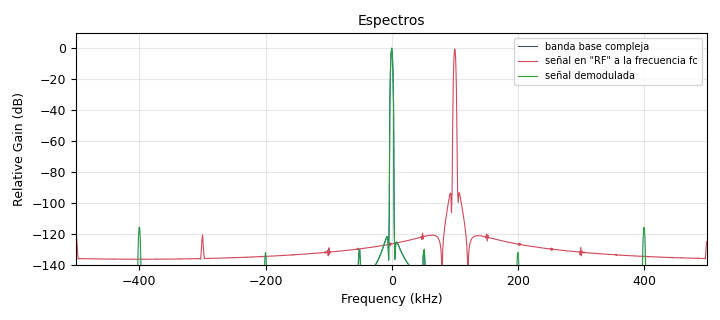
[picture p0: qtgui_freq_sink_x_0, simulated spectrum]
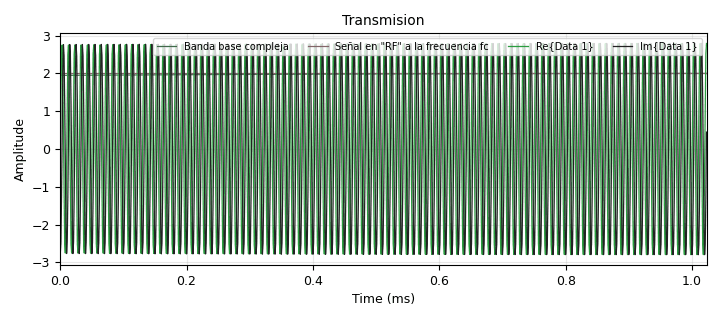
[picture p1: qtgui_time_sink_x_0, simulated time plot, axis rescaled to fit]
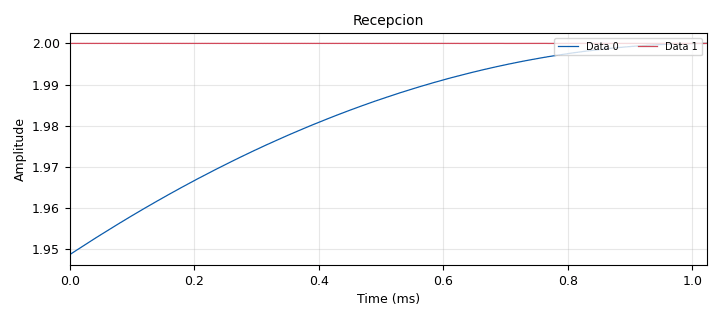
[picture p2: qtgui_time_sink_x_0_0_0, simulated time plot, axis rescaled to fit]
options:
  parameters:
    generate_options: qt_gui
    id: top_block
    output_language: python
  states: {}

blocks:
- name: c
  id: variable_qtgui_range
  parameters:
    label: c
    outputmsgname: value
    showports: 'False'
    start: '0'
    step: '0.1'
    stop: '1'
    value: '1'
  states: {}
- name: f
  id: variable_qtgui_range
  parameters:
    label: f
    outputmsgname: value
    showports: 'False'
    start: '0'
    step: '1'
    stop: 15e3
    value: '50'
  states: {}
- name: fc
  id: variable_qtgui_range
  parameters:
    label: fc
    outputmsgname: value
    showports: 'False'
    start: 100e3
    step: 1e3
    stop: 500e3
    value: 100e3
  states: {}
- name: m
  id: variable_qtgui_range
  parameters:
    label: m
    outputmsgname: value
    showports: 'False'
    start: '0'
    step: '0.1'
    stop: '1'
    value: '1'
  states: {}
- name: samp_rate
  id: variable
  parameters:
    value: 1e6
  states: {}
- name: analog_const_source_x_0
  id: analog_const_source_x
  parameters:
    comment: amplitud de carrier
    const: c
    type: float
  states: {}
- name: analog_const_source_x_0_0
  id: analog_const_source_x
  parameters:
    comment: amplitud de carrier
    const: c
    type: float
  states: {}
- name: analog_sig_source_x_0
  id: analog_sig_source_x
  parameters:
    amp: m
    comment: fmsj
    freq: f
    offset: '0'
    phase: '0'
    samp_rate: samp_rate
    type: float
    waveform: analog.GR_COS_WAVE
  states: {}
- name: analog_sig_source_x_0_0
  id: analog_sig_source_x
  parameters:
    amp: m*2
    comment: |-
      La cuadrada va 0 a 1 por eso la amplitud la duplico
      y le resto el valor medio
    freq: f
    offset: '0'
    phase: '0'
    samp_rate: samp_rate
    type: float
    waveform: analog.GR_SQR_WAVE
  states: {}
- name: analog_sig_source_x_1
  id: analog_sig_source_x
  parameters:
    amp: '1'
    comment: Portadora del Tx
    freq: fc
    offset: '0'
    phase: '0'
    samp_rate: samp_rate
    type: complex
    waveform: analog.GR_COS_WAVE
  states: {}
- name: analog_sig_source_x_1_0
  id: analog_sig_source_x
  parameters:
    amp: '1'
    comment: Portadora del Rx
    freq: '-fc'
    offset: '0'
    phase: '0'
    samp_rate: samp_rate
    type: complex
    waveform: analog.GR_COS_WAVE
  states: {}
- name: blocks_add_const_vxx_0
  id: blocks_add_const_vxx
  parameters:
    const: '-1'
    type: float
  states: {}
- name: blocks_add_xx_0
  id: blocks_add_xx
  parameters:
    comment: agrega portadora
    type: float
  states: {}
- name: blocks_add_xx_0_0
  id: blocks_add_xx
  parameters:
    comment: agrega portadora
    type: float
  states: {}
- name: blocks_complex_to_float_0_0
  id: blocks_complex_to_float
  parameters: {}
  states: {}
- name: blocks_float_to_complex_0
  id: blocks_float_to_complex
  parameters:
    comment: |-
      Aqui se implemeta la modulacion en cuadratura.
      parte Re y Imag señales diferentes
  states: {}
- name: blocks_multiply_xx_0
  id: blocks_multiply_xx
  parameters:
    comment: Tx
    type: complex
  states: {}
- name: blocks_multiply_xx_0_0
  id: blocks_multiply_xx
  parameters:
    comment: Rx
    type: complex
  states: {}
- name: blocks_throttle_0
  id: blocks_throttle
  parameters:
    samples_per_second: samp_rate
    type: complex
  states: {}
- name: qtgui_freq_sink_x_0
  id: qtgui_freq_sink_x
  parameters:
    bw: samp_rate
    fc: '0'
    fftsize: '1024'
    label1: banda base compleja
    label2: señal en "RF" a la frecuencia fc
    label3: señal demodulada
    name: '"Espectros"'
    nconnections: '3'
    showports: 'True'
    type: complex
  states: {}
- name: qtgui_time_sink_x_0
  id: qtgui_time_sink_x
  parameters:
    label1: Banda base compleja
    label2: Señal en "RF" a la frecuencia fc
    label3: ''
    label4: ''
    name: '"Transmision"'
    nconnections: '2'
    size: '1024'
    srate: samp_rate
    type: complex
    ymax: '2'
    ymin: '-2'
  states: {}
- name: qtgui_time_sink_x_0_0_0
  id: qtgui_time_sink_x
  parameters:
    label1: ''
    label2: ''
    name: '"Recepcion"'
    nconnections: '2'
    size: '1024'
    srate: samp_rate
    type: float
  states: {}

connections:
- [analog_const_source_x_0, '0', blocks_add_xx_0, '1']
- [analog_const_source_x_0_0, '0', blocks_add_xx_0_0, '1']
- [analog_sig_source_x_0, '0', blocks_add_xx_0, '0']
- [analog_sig_source_x_0_0, '0', blocks_add_const_vxx_0, '0']
- [analog_sig_source_x_1, '0', blocks_multiply_xx_0, '1']
- [analog_sig_source_x_1_0, '0', blocks_multiply_xx_0_0, '1']
- [blocks_add_const_vxx_0, '0', blocks_add_xx_0_0, '0']
- [blocks_add_xx_0, '0', blocks_float_to_complex_0, '0']
- [blocks_add_xx_0_0, '0', blocks_float_to_complex_0, '1']
- [blocks_complex_to_float_0_0, '0', qtgui_time_sink_x_0_0_0, '0']
- [blocks_complex_to_float_0_0, '1', qtgui_time_sink_x_0_0_0, '1']
- [blocks_float_to_complex_0, '0', blocks_throttle_0, '0']
- [blocks_multiply_xx_0, '0', blocks_multiply_xx_0_0, '0']
- [blocks_multiply_xx_0, '0', qtgui_freq_sink_x_0, '1']
- [blocks_multiply_xx_0, '0', qtgui_time_sink_x_0, '1']
- [blocks_multiply_xx_0_0, '0', blocks_complex_to_float_0_0, '0']
- [blocks_multiply_xx_0_0, '0', qtgui_freq_sink_x_0, '2']
- [blocks_throttle_0, '0', blocks_multiply_xx_0, '0']
- [blocks_throttle_0, '0', qtgui_freq_sink_x_0, '0']
- [blocks_throttle_0, '0', qtgui_time_sink_x_0, '0']

metadata:
  file_format: 1
  grc_version: 3.10.4.0
